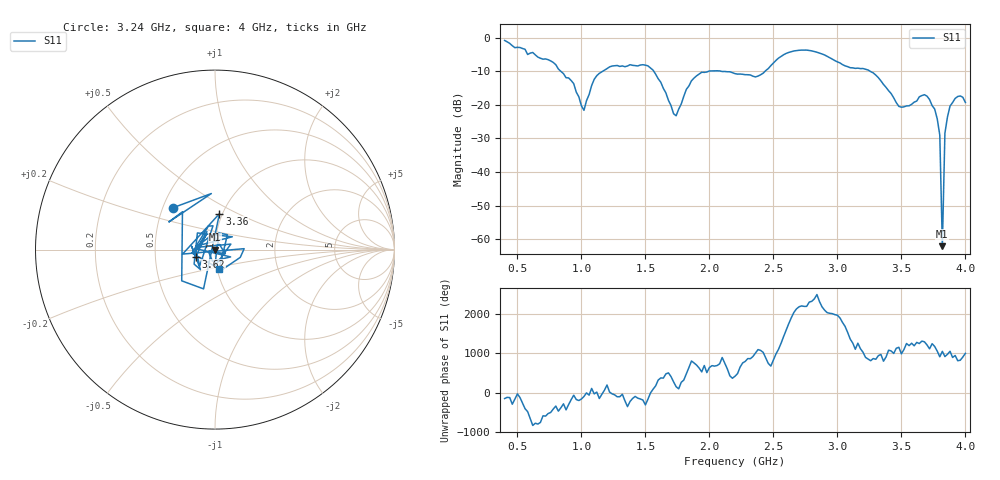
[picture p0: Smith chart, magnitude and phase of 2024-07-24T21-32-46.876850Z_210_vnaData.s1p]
!Created with skrf (http://scikit-rf.org).
# Hz S RI R 50.0
!freq ReS11 ImS11
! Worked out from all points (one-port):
!   181 points, 400 MHz to 4 GHz, reference 50 ohm
!   lowest |S11| = -62.1 dB at 3.82 GHz (marker M1), VSWR 1.00, Z = 50.1 - j0.0367 ohm
!   |S11| at or under -10 dB: 839 MHz to 1.165 GHz (326.4 MHz wide, 32.6 % of centre); 1.566 GHz to 1.993 GHz (427.7 MHz wide, 24 % of centre); 3.256 GHz to end of sweep (the widest 3 of 4)
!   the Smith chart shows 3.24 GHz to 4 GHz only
!   S11 on the Smith chart (normalised r, x): 3.24 GHz: 0.56, +0.30; 3.36 GHz: 0.97, +0.40; 3.62 GHz: 0.80, -0.07; 4 GHz: 1.02, -0.22
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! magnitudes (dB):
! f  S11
! 400 MHz  -0.8
! 860 MHz  -10.7
! 940 MHz  -13.7
! 1.02 GHz  -21.6
! 1.12 GHz  -11.3
! 1.3 GHz  -8.6
! 1.52 GHz  -8.4
! 1.72 GHz  -22.6
! 1.76 GHz  -21.3
! 1.86 GHz  -12.8
! 1.94 GHz  -10.3
! 2.2 GHz  -10.7
! 2.38 GHz  -11.4
! 2.66 GHz  -3.9
! 3.1 GHz  -8.9
! 3.24 GHz  -9.6
! 3.36 GHz  -13.9
! 3.48 GHz  -20.4
! 3.56 GHz  -20.3
! 3.62 GHz  -18.9
! 3.7 GHz  -17.4
! 3.78 GHz  -24.2
! 3.8 GHz  -29.0
! 3.82 GHz  -62.1
! 3.84 GHz  -28.4
! 3.86 GHz  -23.6
! 3.92 GHz  -18.1
! 4 GHz  -19.3
